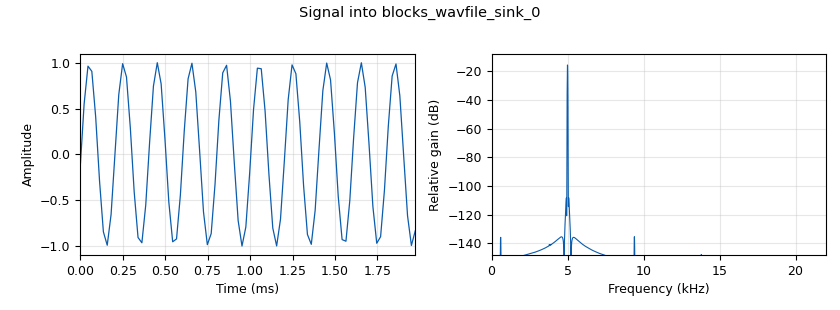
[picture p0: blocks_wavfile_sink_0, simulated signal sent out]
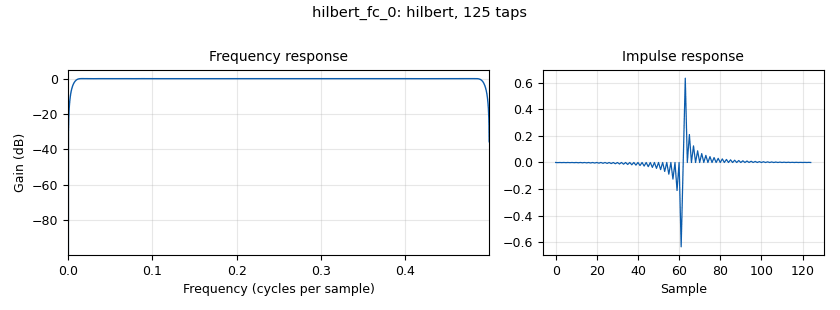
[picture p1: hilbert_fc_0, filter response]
options:
  parameters:
    author: shankari
    generate_options: qt_gui
    id: New_sine_wave_ip
    output_language: python
    title: Not titled yet
  states: {}

blocks:
- name: samp_rate
  id: variable
  parameters:
    value: '44100'
  states: {}
- name: analog_sig_source_x_0_1_3
  id: analog_sig_source_x
  parameters:
    amp: '1'
    freq: '5000'
    offset: '0'
    phase: '0'
    samp_rate: samp_rate
    type: float
    waveform: analog.GR_COS_WAVE
  states: {}
- name: blocks_add_const_vxx_0
  id: blocks_add_const_vxx
  parameters:
    const: '128'
    type: float
  states: {}
- name: blocks_add_const_vxx_0_0
  id: blocks_add_const_vxx
  parameters:
    const: '128'
    type: float
  states: {}
- name: blocks_complex_to_float_0
  id: blocks_complex_to_float
  parameters: {}
  states: {}
- name: blocks_float_to_uchar_0
  id: blocks_float_to_uchar
  parameters: {}
  states: {}
- name: blocks_float_to_uchar_0_0
  id: blocks_float_to_uchar
  parameters: {}
  states: {}
- name: blocks_multiply_const_vxx_0
  id: blocks_multiply_const_vxx
  parameters:
    const: '127'
    type: float
  states: {}
- name: blocks_multiply_const_vxx_0_0
  id: blocks_multiply_const_vxx
  parameters:
    const: '127'
    maxoutbuf: '127'
    minoutbuf: '-127'
    type: float
  states: {}
- name: blocks_wavfile_sink_0
  id: blocks_wavfile_sink
  parameters:
    bits_per_sample1: FORMAT_PCM_16
    file: /home/shankari/test.wav
    format: FORMAT_WAV
    samp_rate: samp_rate
  states: {}
- name: epy_block_0
  id: epy_block
  parameters:
    _source_code: "import numpy\nfrom gnuradio import gr\nimport serial\n\nclass blk(gr.basic_block):\n    def __init__(self):\n        gr.basic_block.__init__(\n            self,\n            name=\"UART IQ TX (Interleaved)\",\n            in_sig=[numpy.uint8, numpy.uint8],  # I and Q streams\n            out_sig=[]\n        )\n        self.ser = serial.Serial(\n\tport='/dev/ttyUSB1',   # Set your correct UART port\n\tbaudrate=4096000,      # 1 Mbps\n\ttimeout = 0.001\n        )\n\n    def __del__(self):\n        if self.ser and self.ser.is_open:\n            self.ser.close()\n\n    def general_work(self, input_items, output_items):\n        I = input_items[0]\n        Q = input_items[1]\n\n        n = min(len(I), len(Q))\n        # Interleave I and Q\n        interleaved = numpy.empty(2 * n, dtype=numpy.uint8)\n        interleaved[0::2] = I[:n]\n        interleaved[1::2] = Q[:n]\n\n        try:\n            self.ser.write(interleaved.tobytes())\n        except Exception as e:\n            print(\"UART Write Error:\", e)\n\n        # Tell GNU Radio we consumed the items\n        self.consume(0, n)\n        self.consume(1, n)\n        return 0  # Let GNU Radio schedule again\n\n"
  states: {}
- name: hilbert_fc_0
  id: hilbert_fc
  parameters:
    num_taps: '125'
  states: {}

connections:
- [analog_sig_source_x_0_1_3, '0', hilbert_fc_0, '0']
- [blocks_add_const_vxx_0, '0', blocks_float_to_uchar_0, '0']
- [blocks_add_const_vxx_0_0, '0', blocks_float_to_uchar_0_0, '0']
- [blocks_complex_to_float_0, '0', blocks_multiply_const_vxx_0, '0']
- [blocks_complex_to_float_0, '0', blocks_wavfile_sink_0, '0']
- [blocks_complex_to_float_0, '1', blocks_multiply_const_vxx_0_0, '0']
- [blocks_float_to_uchar_0, '0', epy_block_0, '0']
- [blocks_float_to_uchar_0_0, '0', epy_block_0, '1']
- [blocks_multiply_const_vxx_0, '0', blocks_add_const_vxx_0, '0']
- [blocks_multiply_const_vxx_0_0, '0', blocks_add_const_vxx_0_0, '0']
- [hilbert_fc_0, '0', blocks_complex_to_float_0, '0']

metadata:
  file_format: 1
